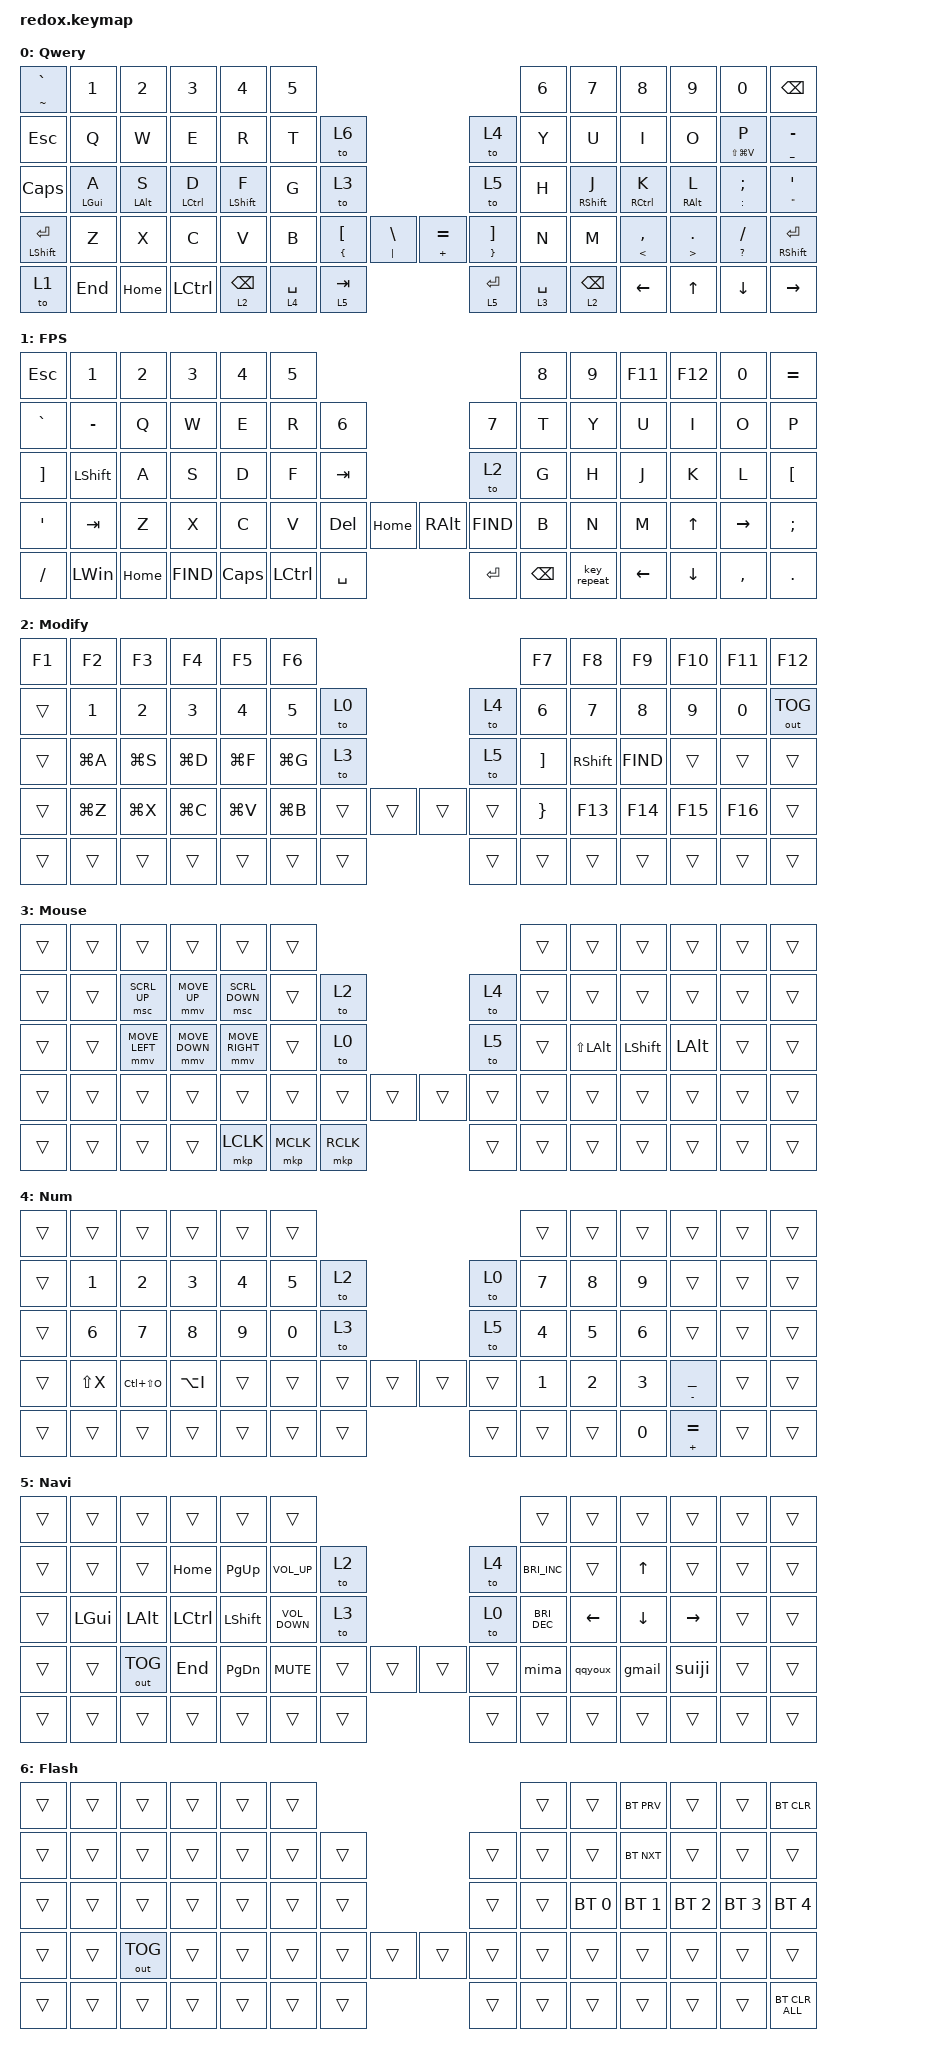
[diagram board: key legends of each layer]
/*
 * Copyright (c) 2021 The ZMK Contributors
 *
 * SPDX-License-Identifier: MIT
 */

#include <behaviors/mouse_keys.dtsi>
#include <behaviors.dtsi>
#include <dt-bindings/zmk/bt.h>
#include <dt-bindings/zmk/keys.h>
#include <dt-bindings/zmk/mouse.h>
#include <dt-bindings/zmk/outputs.h>

/ {
    combos { compatible = "zmk,combos"; };

    macros {
        gif: gif {
            label = "giphy";
            compatible = "zmk,behavior-macro";
            #binding-cells = <0>;
            bindings =
                <&macro_press>,
                <&kp LSHFT>,
                <&macro_tap>,
                <&kp N2>,
                <&macro_release>,
                <&kp LSHFT>,
                <&macro_tap>,
                <&kp G &kp I &kp F>;
        };

        mima: mima {
            compatible = "zmk,behavior-macro";
            #binding-cells = <0>;
            bindings = <&kp N2 &kp N2 &kp N0 &kp N3 &kp N2 &kp N0 &kp RET>;
            label = "MIMA";
            wait-ms = <50>;
            tap-ms = <50>;
        };

        qqyoux: qqyoux {
            compatible = "zmk,behavior-macro";
            #binding-cells = <0>;
            bindings = <&kp N1 &kp N0 &kp N0 &kp N7 &kp N2 &kp N0 &kp N6 &kp N3 &kp N6 &kp N1 &kp AT &kp Q &kp Q &kp DOT &kp C &kp O &kp M>;
            label = "QQYOUX";
        };

        gmail: gmail {
            compatible = "zmk,behavior-macro";
            #binding-cells = <0>;
            bindings = <&kp R &kp U &kp I &kp J &kp I &kp E &kp Z &kp H &kp A &kp N &kp G &kp N7 &kp N0 &kp N2 &kp AT &kp G &kp M &kp A &kp I &kp L &kp DOT &kp C &kp O &kp M>;
            label = "GMAIL";
        };

        suiji: mizi {
            compatible = "zmk,behavior-macro";
            #binding-cells = <0>;
            bindings = <&kp LS(Z) &kp X &kp J &kp B &kp S &kp J &kp B &kp X &kp J &kp J &kp N2 &kp N5>;
            label = "MIZI";
        };
    };

    behaviors {
        hm: homerow_mods {
            compatible = "zmk,behavior-hold-tap";
            label = "HOMEROW_MODS";
            bindings = <&kp>, <&kp>;

            #binding-cells = <2>;
            tapping-term-ms = <200>;
            quick-tap-ms = <180>;
            flavor = "tap-preferred";
        };

        ltq: ltq {
            compatible = "zmk,behavior-hold-tap";
            label = "LTQ";
            bindings = <&mo>, <&kp>;

            #binding-cells = <2>;
            tapping-term-ms = <200>;
            quick-tap-ms = <180>;
        };

        as: auto_shift {
            compatible = "zmk,behavior-hold-tap";
            label = "AUTO_SHIFT";
            bindings = <&kp>, <&kp>;

            #binding-cells = <2>;
            tapping-term-ms = <135>;
            quick-tap-ms = <0>;
        };
    };

    keymap {
        compatible = "zmk,keymap";

        Qwery {
            // --------------------------------------------------------------------------------------------------------------------------------
            // | ESC   |  1  |  2  |   3   |  4  |  5  |                   ---                |  6    |  7    |  8    |  9   | 0  |    BKSP   |
            // | TAB   |  Q  |  W  |   E   |  R  |  T  |   (   |           ---        |  )    |  Y    |  U    |  I    |  O   | P  |     -     |
            // | CTRL  |  A  |  S  |   D   |  F  |  G  |   [   |           ---        |  ]    |  H    |  J    |  K    |  L   | ;  |     '     |
            // | SHIFT |  Z  |  X  |   C   |  V  |  B  | PG_UP | PG_DOWN | --- | HOME | END   |  N    |  M    |  ,    |  .   | /  | SHFT(RET) |
            // | CRTL  | ALT | GUI | LOWER |    GUI    | LOWER | SPACE   | --- | DEL  | SPACE |     RAISE     | LEFT  | DOWN | UP |   RIGHT   |

            bindings = <
&as TILDE GRAVE       &kp N1          &kp N2          &kp N3              &kp N4            &kp N5                                                                                                           &kp N6                   &kp N7             &kp N8               &kp N9                   &kp N0               &kp BSPC
&kp ESC               &kp Q           &kp W           &kp E               &kp R             &kp T            &to 6                                                            &to 4                          &kp Y                    &kp U              &kp I                &kp O                    &as LS(LG(V)) P      &as UNDERSCORE MINUS
&kp CAPSLOCK          &hm LEFT_GUI A  &hm LEFT_ALT S  &hm LEFT_CONTROL D  &hm LEFT_SHIFT F  &kp G            &to 3                                                            &to 5                          &kp H                    &hm RIGHT_SHIFT J  &hm RIGHT_CONTROL K  &hm RIGHT_ALT L          &as COLON SEMICOLON  &as DOUBLE_QUOTES SQT
&mt LEFT_SHIFT ENTER  &kp Z           &kp X           &kp C               &kp V             &kp B            &as LEFT_BRACE LEFT_BRACKET  &as PIPE BACKSLASH  &as PLUS EQUAL  &as RIGHT_BRACE RIGHT_BRACKET  &kp N                    &kp M              &as LESS_THAN COMMA  &as GREATER_THAN PERIOD  &as QUESTION SLASH   &mt RSHFT RET
&to 1                 &kp END         &kp HOME        &kp LEFT_CONTROL                      &lt 2 BACKSPACE  &ltq 4 SPACE                 &ltq 5 TAB          &ltq 5 ENTER    &ltq 3 SPACE                           &lt 2 BACKSPACE                     &kp LEFT_ARROW       &kp UP_ARROW             &kp DOWN_ARROW       &kp RIGHT_ARROW
            >;

            label = "Qwery";
        };

        FPS {
            label = "FPS";
            bindings = <
&kp ESCAPE         &kp N1          &kp N2    &kp N3      &kp N4  &kp N5                                                                   &kp NUMBER_8               &kp NUMBER_9  &kp F11         &kp F12       &kp N0     &kp EQUAL
&kp GRAVE          &kp MINUS       &kp Q     &kp W       &kp E   &kp R         &kp NUMBER_6                                &kp N7         &kp T                      &kp Y         &kp U           &kp I         &kp O      &kp P
&kp RIGHT_BRACKET  &kp LEFT_SHIFT  &kp A     &kp S       &kp D   &kp F         &kp TAB                                     &to 2          &kp G                      &kp H         &kp J           &kp K         &kp L      &kp LEFT_BRACKET
&kp SQT            &kp TAB         &kp Z     &kp X       &kp C   &kp V         &kp DELETE        &kp HOME   &kp RIGHT_ALT  &kp K_FIND     &kp B                      &kp N         &kp M           &kp UP_ARROW  &kp RIGHT  &kp SEMICOLON
&kp SLASH          &kp LEFT_WIN    &kp HOME  &kp K_FIND          &kp CAPSLOCK  &kp LEFT_CONTROL  &kp SPACE  &kp ENTER      &kp BACKSPACE                &key_repeat                &kp LEFT_ARROW  &kp DOWN      &kp COMMA  &kp PERIOD
            >;
        };

        Modify {
            // -----------------------------------------------------------------------------------------
            // |  F1   |  F2   |    F3    |    F4     |     F5     | F6 |                   ---                | F7  | F8  |  F9  |  F10 | F11 | F12        |
            // | TAB   |       |          |           |            |    | BOOTL |           ---        |  )    | BT1 | BT2 |  BT3 |  BT4 | BT5 | OUTPUT TGL |
            // | CTRL  | MUTE  |  Vol Dn  |  Vol Up   | Play/Pause |    | RESET |           ---        |  ]    | F1  | F2  |  F3  |  F4  | F5  | F6         |
            // | SHIFT | PSCRN |  PSCRN   |   CAPS    |            |    | PG_UP | PG_DOWN | --- | HOME | END   | F7  | F8  |  F9  |  F10 | F11 | F12        |
            // | CRTL  | ALT   |  GUI     |   LOWER   |      GUI        | LOWER | SPACE   | --- | DEL  | SPACE |   RAISE   | LEFT | DOWN | UP  |   RIGHT    |

            bindings = <
&kp F1  &kp F2     &kp F3     &kp F4     &kp F5     &kp F6                                     &kp F7                     &kp F8           &kp F9      &kp F10       &kp F11  &kp F12
&trans  &kp N1     &kp N2     &kp N3     &kp N4     &kp N5     &to 0                   &to 4   &kp N6                     &kp N7           &kp N8      &kp NUMBER_9  &kp N0   &out OUT_TOG
&trans  &kp LG(A)  &kp LG(S)  &kp LG(D)  &kp LG(F)  &kp LG(G)  &to 3                   &to 5   &kp RIGHT_BRACKET          &kp RIGHT_SHIFT  &kp K_FIND  &trans        &trans   &trans
&trans  &kp LG(Z)  &kp LG(X)  &kp LG(C)  &kp LG(V)  &kp LG(B)  &trans  &trans  &trans  &trans  &kp RIGHT_BRACE            &kp F13          &kp F14     &kp F15       &kp F16  &trans
&trans  &trans     &trans     &trans                &trans     &trans  &trans  &trans  &trans                     &trans                   &trans      &trans        &trans   &trans
            >;

            label = "Modify";
        };

        Mouse {
            bindings = <
&trans  &trans  &trans          &trans          &trans           &trans                                           &trans          &trans            &trans          &trans        &trans  &trans
&trans  &trans  &msc SCRL_UP    &mmv MOVE_UP    &msc SCRL_DOWN   &trans     &to 2                         &to 4   &trans          &trans            &trans          &trans        &trans  &trans
&trans  &trans  &mmv MOVE_LEFT  &mmv MOVE_DOWN  &mmv MOVE_RIGHT  &trans     &to 0                         &to 5   &trans          &kp LS(LEFT_ALT)  &kp LEFT_SHIFT  &kp LEFT_ALT  &trans  &trans
&trans  &trans  &trans          &trans          &trans           &trans     &trans     &trans     &trans  &trans  &trans          &trans            &trans          &trans        &trans  &trans
&trans  &trans  &trans          &trans                           &mkp LCLK  &mkp MCLK  &mkp RCLK  &trans  &trans          &trans                    &trans          &trans        &trans  &trans
            >;

            label = "Mouse";
        };

        Num {
            bindings = <
&trans  &trans     &trans         &trans     &trans  &trans                                  &trans                &trans        &trans        &trans                &trans  &trans
&trans  &kp N1     &kp N2         &kp N3     &kp N4  &kp N5  &to 2                   &to 0   &kp N7                &kp N8        &kp N9        &trans                &trans  &trans
&trans  &kp N6     &kp N7         &kp N8     &kp N9  &kp N0  &to 3                   &to 5   &kp NUMBER_4          &kp N5        &kp NUMBER_6  &trans                &trans  &trans
&trans  &kp LS(X)  &kp LC(LS(O))  &kp LA(I)  &trans  &trans  &trans  &trans  &trans  &trans  &kp NUMBER_1          &kp NUMBER_2  &kp NUMBER_3  &as MINUS UNDERSCORE  &trans  &trans
&trans  &trans     &trans         &trans             &trans  &trans  &trans  &trans  &trans                &trans                &kp N0        &as PLUS EQUAL        &trans  &trans
            >;

            label = "Num";
        };

        NAVI {
            label = "Navi";
            bindings = <
&trans  &trans        &trans        &trans            &trans          &trans                                             &trans                        &trans          &trans          &trans           &trans  &trans
&trans  &trans        &trans        &kp HOME          &kp PAGE_UP     &kp C_VOLUME_UP    &to 2                   &to 4   &kp C_BRIGHTNESS_INC          &trans          &kp UP_ARROW    &trans           &trans  &trans
&trans  &kp LEFT_GUI  &kp LEFT_ALT  &kp LEFT_CONTROL  &kp LEFT_SHIFT  &kp C_VOLUME_DOWN  &to 3                   &to 0   &kp C_BRIGHTNESS_DEC          &kp LEFT_ARROW  &kp DOWN_ARROW  &kp RIGHT_ARROW  &trans  &trans
&trans  &trans        &out OUT_TOG  &kp END           &kp PAGE_DOWN   &kp K_MUTE         &trans  &trans  &trans  &trans  &mima                         &qqyoux         &gmail          &suiji           &trans  &trans
&trans  &trans        &trans        &trans                            &trans             &trans  &trans  &trans  &trans                        &trans                  &trans          &trans           &trans  &trans
            >;
        };

        Flash {
            label = "Flash";
            bindings = <
&trans  &trans  &trans        &trans  &trans  &trans                                  &trans          &trans        &bt BT_PRV    &trans        &trans        &bt BT_CLR
&trans  &trans  &trans        &trans  &trans  &trans  &trans                  &trans  &trans          &trans        &bt BT_NXT    &trans        &trans        &trans
&trans  &trans  &trans        &trans  &trans  &trans  &trans                  &trans  &trans          &bt BT_SEL 0  &bt BT_SEL 1  &bt BT_SEL 2  &bt BT_SEL 3  &bt BT_SEL 4
&trans  &trans  &out OUT_TOG  &trans  &trans  &trans  &trans  &trans  &trans  &trans  &trans          &trans        &trans        &trans        &trans        &trans
&trans  &trans  &trans        &trans          &trans  &trans  &trans  &trans  &trans          &trans                &trans        &trans        &trans        &bt BT_CLR_ALL
            >;
        };
    };

    conditional_layers {
        compatible = "zmk,conditional-layers";

        to_flash {
            if-layers = <2 3>;
            then-layer = <6>;
        };
    };
};
